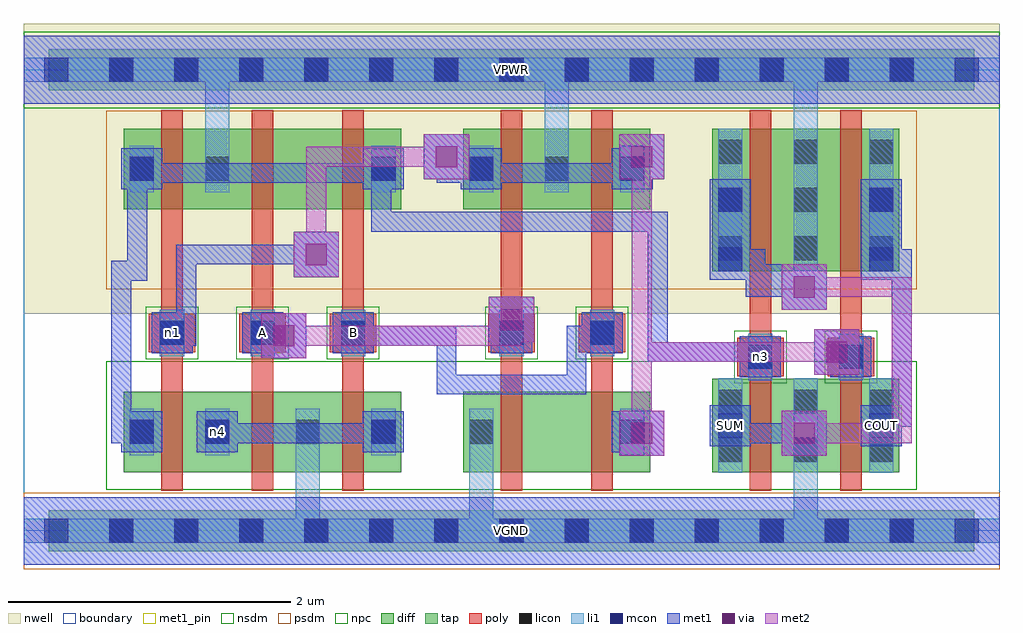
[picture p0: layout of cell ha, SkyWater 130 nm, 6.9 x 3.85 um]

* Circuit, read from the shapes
.subckt ha A B COUT SUM VGND VPWR n1 n3 n4
XM1 n4 n1 n3 VGND sky130_fd_pr__nfet_01v8 w=0.57 l=0.15
XM2 VGND A n4 VGND sky130_fd_pr__nfet_01v8 w=0.57 l=0.15
XM3 n4 B VGND VGND sky130_fd_pr__nfet_01v8 w=0.57 l=0.15
XM4 n2 A VGND VGND sky130_fd_pr__nfet_01v8 w=0.57 l=0.15
XM5 n1 B n2 VGND sky130_fd_pr__nfet_01v8 w=0.57 l=0.15
XM6 VGND n3 SUM VGND sky130_fd_pr__nfet_01v8 w=0.66 l=0.15
XM7 COUT n1 VGND VGND sky130_fd_pr__nfet_01v8 w=0.66 l=0.15
XM8 VPWR n1 n3 VPWR sky130_fd_pr__pfet_01v8 w=0.57 l=0.15
XM9 n5 A VPWR VPWR sky130_fd_pr__pfet_01v8 w=0.57 l=0.15
XM10 n3 B n5 VPWR sky130_fd_pr__pfet_01v8 w=0.57 l=0.15
XM11 VPWR A n1 VPWR sky130_fd_pr__pfet_01v8 w=0.57 l=0.15
XM12 n1 B VPWR VPWR sky130_fd_pr__pfet_01v8 w=0.57 l=0.15
XM13 VPWR n3 SUM VPWR sky130_fd_pr__pfet_01v8 w=1.01 l=0.15
XM14 COUT n1 VPWR VPWR sky130_fd_pr__pfet_01v8 w=1.01 l=0.15
.ends

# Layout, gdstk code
import gdstk
lib = gdstk.Library(unit=1e-6, precision=1e-09)
def R(c, l, rs):  # rectangles x0, y0, x1, y1
    for r in rs: c.add(gdstk.rectangle(r[:2], r[2:], *l))
def A(c, l, x, y, w, h, nx, ny, dx, dy):  # array of equal rectangles
    R(c, l, [(x+i*dx, y+j*dy, x+i*dx+w, y+j*dy+h) for i in range(nx) for j in range(ny)])
nwell = (64, 20)
diff = (65, 20)
tap = (65, 44)
poly = (66, 20)
licon = (66, 44)
li1 = (67, 20)
mcon = (67, 44)
met1_pin = (68, 16)
met1 = (68, 20)
via = (68, 44)
met2 = (69, 20)
nsdm = (93, 44)
psdm = (94, 20)
npc = (95, 20)
boundary = (235, 4)

c_ha = lib.new_cell('ha')
R(c_ha, nwell, [(0,1.535,6.9,3.585)])
R(c_ha, diff, [(0.71,0.415,2.67,0.985), (3.11,0.415,4.43,0.985), (4.87,0.415,6.19,1.075), (4.87,1.835,6.19,2.845), (0.71,2.275,2.67,2.845), (3.11,2.275,4.43,2.845)])
R(c_ha, tap, [(0.18,-0.145,6.72,0.145), (0.18,3.115,6.72,3.405)])
A(c_ha, poly, 0.975, 0.285, 0.15, 2.69, 3, 1, 0.64, 0)
A(c_ha, poly, 0.885, 1.265, 0.33, 0.27, 3, 1, 0.64, 0)
R(c_ha, poly, [(3.375,0.285,3.525,2.975), (4.015,0.285,4.165,2.975), (5.135,0.285,5.285,2.975), (5.775,0.285,5.925,2.975), (5.045,1.095,5.375,1.365), (5.685,1.095,6.015,1.365), (3.285,1.265,3.615,1.535), (3.925,1.265,4.255,1.535)])
A(c_ha, licon, 0.605, -0.085, 0.17, 0.17, 13, 2, 0.46, 3.26)
A(c_ha, licon, 4.91, 0.49, 0.17, 0.17, 3, 2, 0.535, 0.34)
A(c_ha, licon, 0.965, 1.315, 0.17, 0.17, 3, 1, 0.64, 0)
A(c_ha, licon, 4.91, 1.915, 0.17, 0.17, 3, 3, 0.535, 0.34)
A(c_ha, licon, 3.15, 2.475, 0.17, 0.17, 3, 1, 0.535, 0)
R(c_ha, licon, [(0.75,0.615,0.92,0.785), (1.285,0.615,1.455,0.785), (1.925,0.615,2.095,0.785), (2.46,0.615,2.63,0.785), (3.15,0.615,3.32,0.785), (4.22,0.615,4.39,0.785), (5.125,1.145,5.295,1.315), (5.765,1.145,5.935,1.315), (3.365,1.315,3.535,1.485), (4.005,1.315,4.175,1.485), (0.75,2.475,0.92,2.645), (1.285,2.475,1.455,2.645), (2.46,2.475,2.63,2.645)])
A(c_ha, li1, 4.91, 0.41, 0.17, 0.67, 3, 1, 0.535, 0)
A(c_ha, li1, 0.965, 1.235, 0.17, 0.33, 3, 1, 0.64, 0)
A(c_ha, li1, 4.91, 1.835, 0.17, 1.01, 3, 1, 0.535, 0)
A(c_ha, li1, 3.15, 2.395, 0.17, 0.33, 3, 1, 0.535, 0)
R(c_ha, li1, [(0,-0.085,6.9,0.085), (1.925,-0.085,2.095,0.865), (3.15,-0.085,3.32,0.865), (5.445,-0.085,5.615,1.08), (0.75,0.535,0.92,0.865), (1.285,0.535,1.455,0.865), (1.925,0.535,2.095,0.865), (2.46,0.535,2.63,0.865), (3.15,0.535,3.32,0.865), (4.22,0.535,4.39,0.865), (5.125,1.065,5.295,1.395), (5.765,1.065,5.935,1.395), (3.365,1.235,3.535,1.565), (4.005,1.235,4.175,1.565), (5.445,1.835,5.615,3.345), (0.75,2.395,0.92,2.725), (1.285,2.395,1.455,2.725), (1.285,2.395,1.455,3.345), (2.46,2.395,2.63,2.725), (3.685,2.395,3.855,3.345), (0,3.175,6.9,3.345)])
A(c_ha, mcon, 0.145, -0.085, 0.17, 0.17, 15, 2, 0.46, 3.26)
A(c_ha, mcon, 0.965, 1.315, 0.17, 0.17, 3, 1, 0.64, 0)
R(c_ha, mcon, [(0.75,0.615,0.92,0.785), (1.285,0.615,1.455,0.785), (2.46,0.615,2.63,0.785), (4.22,0.615,4.39,0.785), (4.91,0.66,5.08,0.83), (5.98,0.66,6.15,0.83), (5.125,1.145,5.295,1.315), (5.765,1.145,5.935,1.315), (3.365,1.315,3.535,1.485), (4.005,1.315,4.175,1.485), (4.91,1.835,5.08,2.005), (5.98,1.835,6.15,2.005), (4.91,2.255,5.08,2.425), (5.98,2.255,6.15,2.425), (0.75,2.475,0.92,2.645), (2.46,2.475,2.63,2.645), (3.15,2.475,3.32,2.645), (4.22,2.475,4.39,2.645)])
R(c_ha, met1_pin, [(0,-0.24,6.9,0.24), (4.85,0.6,5.14,0.89), (5.92,0.6,6.21,0.89), (1.545,1.255,1.835,1.545), (2.185,1.255,2.475,1.545), (0,3.02,6.9,3.5)])
A(c_ha, met1, 0.905, 1.255, 0.29, 0.29, 3, 1, 0.64, 0)
R(c_ha, met1, [(0,-0.24,6.9,0.24), (4.21,0.53,4.53,0.85), (5.36,0.53,5.68,0.85), (0.69,0.555,0.98,0.845), (1.225,0.555,1.515,0.845), (2.4,0.555,2.69,0.845), (4.16,0.555,4.45,0.845), (4.85,0.6,5.14,0.89), (5.92,0.6,6.21,0.89), (0.62,0.62,0.875,0.76), (0.62,0.62,0.76,1.91), (0.735,0.62,0.875,0.76), (1.31,0.62,1.45,0.76), (1.31,0.62,2.6,0.76), (2.46,0.62,2.6,0.76), (4.3,0.62,4.44,0.76), (4.99,0.62,5.13,0.76), (4.99,0.62,5.59,0.76), (6.025,0.735,6.165,0.875), (6.025,0.735,6.28,0.875), (6.14,0.735,6.28,1.795), (2.92,0.965,3.06,1.45), (2.92,0.965,3.98,1.105), (3.84,0.965,3.98,1.45), (5.065,1.085,5.355,1.375), (5.705,1.085,5.995,1.375), (5.59,1.105,5.91,1.425), (4.415,1.195,5.245,1.335), (4.415,1.195,4.555,2.255), (5.105,1.195,5.245,1.335), (5.68,1.195,5.935,1.335), (5.795,1.195,5.935,1.335), (1.68,1.22,2,1.54), (3.305,1.255,3.595,1.545), (3.945,1.255,4.235,1.545), (0.965,1.31,1.105,1.45), (0.965,1.31,1.22,1.45), (1.08,1.31,1.22,2.025), (1.655,1.31,1.795,1.45), (1.655,1.31,1.91,1.45), (2.23,1.31,2.37,1.45), (2.23,1.31,3.06,1.45), (3.38,1.31,3.52,1.45), (3.38,1.31,3.52,1.565), (3.84,1.31,4.095,1.45), (3.955,1.31,4.095,1.45), (3.29,1.335,3.61,1.655), (5.36,1.565,5.68,1.885), (5.105,1.655,5.245,1.99), (5.105,1.655,5.59,1.795), (5.245,1.655,5.36,1.885), (6.14,1.655,6.28,1.99), (0.62,1.77,0.875,1.91), (0.735,1.77,0.875,2.6), (4.85,1.775,5.14,2.065), (5.92,1.775,6.21,2.065), (1.91,1.795,2.23,2.115), (4.925,1.85,5.245,1.99), (5.245,1.85,5.36,1.885), (5.995,1.85,6.28,1.99), (1.08,1.885,2.14,2.025), (4.85,2.065,5.14,2.195), (5.92,2.065,6.21,2.195), (2.46,2.115,4.555,2.255), (2.46,2.115,2.6,2.6), (4.85,2.195,5.14,2.485), (5.92,2.195,6.21,2.485), (0.69,2.415,0.98,2.705), (2.4,2.415,2.69,2.705), (3.09,2.415,3.38,2.705), (4.16,2.415,4.45,2.705), (0.735,2.46,0.875,2.6), (0.735,2.46,2.6,2.6), (2.46,2.46,2.6,2.6), (2.92,2.46,3.06,2.715), (2.92,2.46,3.29,2.6), (3.06,2.46,3.09,2.705), (3.15,2.46,3.29,2.6), (3.15,2.46,4.325,2.6), (4.185,2.46,4.325,2.6), (4.185,2.46,4.44,2.6), (4.3,2.46,4.44,2.715), (2.83,2.485,3.15,2.805), (4.21,2.485,4.53,2.805), (0,3.02,6.9,3.5)])
R(c_ha, via, [(4.295,0.615,4.445,0.765), (5.445,0.615,5.595,0.765), (5.675,1.19,5.825,1.34), (1.765,1.305,1.915,1.455), (3.375,1.42,3.525,1.57), (5.445,1.65,5.595,1.8), (1.995,1.88,2.145,2.03), (2.915,2.57,3.065,2.72), (4.295,2.57,4.445,2.72)])
R(c_ha, met2, [(4.21,0.53,4.53,0.85), (5.36,0.53,5.68,0.85), (4.3,0.62,4.44,2.715), (5.45,0.62,6.28,0.76), (6.14,0.62,6.28,1.795), (5.59,1.105,5.91,1.425), (4.3,1.195,5.82,1.335), (1.68,1.22,2,1.54), (1.77,1.31,3.52,1.45), (3.38,1.31,3.52,1.565), (3.29,1.335,3.61,1.655), (5.36,1.565,5.68,1.885), (5.45,1.655,6.28,1.795), (1.91,1.795,2.23,2.115), (2,1.885,2.14,2.715), (2.83,2.485,3.15,2.805), (4.21,2.485,4.53,2.805), (2,2.575,3.06,2.715)])
R(c_ha, nsdm, [(0.585,0.29,6.315,1.2), (0,2.99,6.9,3.53)])
R(c_ha, psdm, [(0,-0.27,6.9,0.27), (0.585,1.71,6.315,2.97)])
A(c_ha, npc, 0.865, 1.215, 0.37, 0.37, 3, 1, 0.64, 0)
R(c_ha, npc, [(5.025,1.045,5.395,1.415), (5.665,1.045,6.035,1.415), (3.265,1.215,3.635,1.585), (3.905,1.215,4.275,1.585)])
R(c_ha, boundary, [(0,0,6.9,3.26)])
c_ha.add(gdstk.Label('n1', (1.05,1.4), layer=67, texttype=5))
c_ha.add(gdstk.Label('n3', (5.21,1.23), layer=67, texttype=5))
c_ha.add(gdstk.Label('n4', (1.37,0.7), layer=67, texttype=5))
c_ha.add(gdstk.Label('A', (1.69,1.4), layer=68, texttype=5))
c_ha.add(gdstk.Label('B', (2.33,1.4), layer=68, texttype=5))
c_ha.add(gdstk.Label('SUM', (4.995,0.745), layer=68, texttype=5))
c_ha.add(gdstk.Label('COUT', (6.065,0.745), layer=68, texttype=5))
c_ha.add(gdstk.Label('VPWR', (3.45,3.26), layer=68, texttype=5))
c_ha.add(gdstk.Label('VGND', (3.45,0), layer=68, texttype=5))
c_ha.add(gdstk.Label('A', (1.69,1.4), layer=68, texttype=16))
c_ha.add(gdstk.Label('B', (2.33,1.4), layer=68, texttype=16))
c_ha.add(gdstk.Label('SUM', (4.995,0.745), layer=68, texttype=16))
c_ha.add(gdstk.Label('COUT', (6.065,0.745), layer=68, texttype=16))
c_ha.add(gdstk.Label('VPWR', (3.45,3.26), layer=68, texttype=16))
c_ha.add(gdstk.Label('VGND', (3.45,0), layer=68, texttype=16))

lib.write_gds('ha.gds')
